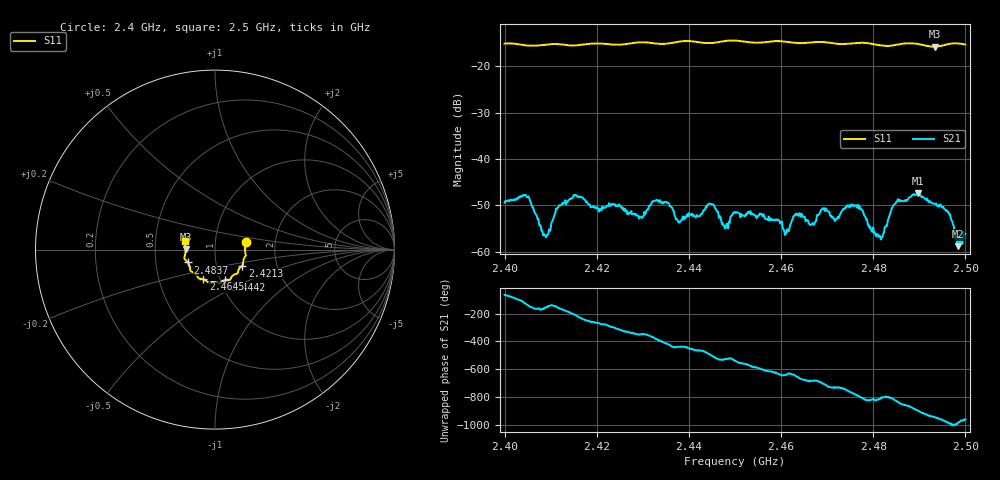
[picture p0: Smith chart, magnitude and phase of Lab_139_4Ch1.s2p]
# Hz S RI R 50
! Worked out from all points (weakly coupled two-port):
!   601 points, 2.4 GHz to 2.5 GHz, reference 50 ohm
!   highest |S21| = -47.41 dB at 2.4897 GHz (marker M1); lowest = -58.8 dB at 2.4983 GHz (marker M2)
!   lowest |S11| = -15.7 dB at 2.4933 GHz (marker M3), VSWR 1.39, Z = 35.9 + j0.115 ohm
!   |S11| at or under -10 dB: start of sweep to end of sweep
!   S12 and S22 are empty: the file has one direction only
!   S11 on the Smith chart (normalised r, x): 2.4 GHz: 1.41, +0.12; 2.4213 GHz: 1.33, -0.25; 2.4442 GHz: 1.05, -0.37; 2.4645 GHz: 0.83, -0.29; 2.4837 GHz: 0.73, -0.11; 2.5 GHz: 0.71, +0.07
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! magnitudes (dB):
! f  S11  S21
! 2.4 GHz  -15.1  -49.4
! 2.4048 GHz  -15.5  -48.2
! 2.4088 GHz  -15.3  -56.7
! 2.4117 GHz  -15.2  -50.4
! 2.4167 GHz  -15.3  -48.2
! 2.4213 GHz  -15.1  -50.7
! 2.4333 GHz  -15.1  -49.2
! 2.438 GHz  -14.6  -53.8
! 2.4442 GHz  -14.9  -49.8
! 2.448 GHz  -14.5  -54.9
! 2.45 GHz  -14.4  -51.5
! 2.4612 GHz  -14.7  -56.1
! 2.4645 GHz  -15.0  -51.9
! 2.4667 GHz  -14.8  -54.1
! 2.4762 GHz  -15.0  -50.0
! 2.4815 GHz  -15.4  -56.6
! 2.4833 GHz  -15.6  -52.8
! 2.4837 GHz  -15.5  -51.8
! 2.4897 GHz  -15.1  -47.4
! 2.4933 GHz  -15.7  -49.7
! 2.4983 GHz  -15.0  -58.8
! 2.5 GHz  -15.3  -56.1
